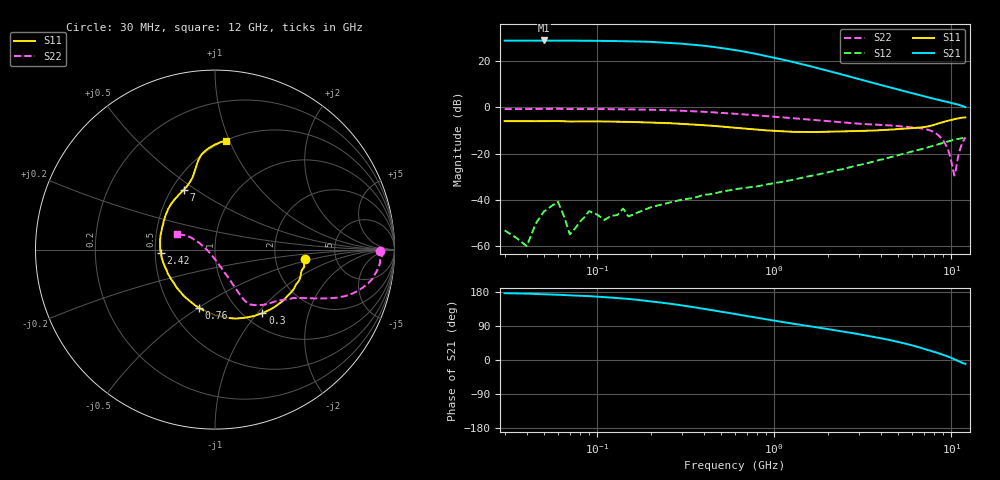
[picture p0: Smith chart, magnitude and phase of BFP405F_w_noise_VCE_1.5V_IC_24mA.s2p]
! Infineon Technologies  Discrete & RF Semiconductors
! BFP405F
! VCE =  1.5 V,  IC =  24 mA
! Common Emitter S-Parameters:  Nov 2015
# GHz  S  MA  R  50
!  f  S11  S21  S12  S22
! GHz  MAG  ANG  MAG  ANG  MAG  ANG  MAG  ANG
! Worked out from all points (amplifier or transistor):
!   239 points, 30 MHz to 12 GHz, reference 50 ohm
!   highest |S21| = 28.9 dB at 50 MHz (marker M1)
!   |S21| within 3 dB of that: start of sweep to 474.7 MHz
!   unconditionally stable (mu >= 1): 30.92 MHz to 42.28 MHz; 68.68 MHz to 76.37 MHz; 1.018 GHz to end of sweep
!   at 300 MHz: K = 0.48, MSG = 33.7 dB, |S12| = -39.9 dB
!   at 1.88 GHz: K = 1.34, MAG = 19.0 dB, |S12| = -28.5 dB
!   at 12 GHz: K = 1.52, MAG = 2.3 dB, |S12| = -13.0 dB
!   lowest NFmin = 2.43 dB at 450 MHz
!   S11 on the Smith chart (normalised r, x): 30 MHz: 2.99, -0.40; 300 MHz: 1.21, -1.06; 760 MHz: 0.69, -0.50; 2.42 GHz: 0.54, -0.02; 7 GHz: 0.58, +0.45; 12 GHz: 0.51, +0.97
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0.03  0.5058 -5.7  27.76 176.3  0.0022 95.4  0.9173 -0.5
0.04  0.5022 -8.0  27.85 175.2  0.001 62.7  0.9201 -1.2
0.05  0.5035 -9.8  28 173.5  0.0056 120.3  0.9258 -1.5
0.06  0.507 -10.8  27.81 172.3  0.0091 128.6  0.9339 -2.1
0.07  0.4971 -13.4  27.75 170.6  0.0018 22.6  0.9206 -2.9
0.085  0.4979 -16.4  27.62 169.0  0.0043 90.6  0.9218 -4.3
0.15  0.4872 -28.7  26.92 161.2  0.0044 80.6  0.9067 -8.0
0.2  0.4731 -37.4  26.11 154.7  0.0069 84.9  0.8903 -10.7
0.24  0.461 -43.8  25.13 150.4  0.0082 77.7  0.8745 -12.3
0.3  0.4421 -53.3  23.83 144.0  0.0101 74.8  0.8481 -14.6
0.44  0.4021 -72.5  20.59 131.9  0.0134 70.3  0.7875 -18.7
0.6  0.3635 -90.8  17.33 121.2  0.017 66.2  0.7284 -21.6
0.76  0.3358 -105.4  14.76 113.3  0.0192 64.9  0.682 -23.4
0.9  0.3187 -116.5  12.95 107.2  0.0215 65.7  0.6488 -24.8
1.1  0.304 -129.5  10.92 100.7  0.0245 65.6  0.6105 -26.4
1.64  0.294 -154.7  7.558 88.0  0.0335 66.9  0.5394 -29.9
2.42  0.303 -176.7  5.124 75.3  0.046 66.2  0.4728 -36.3
4.5  0.3295 148.6  2.709 52.6  0.0836 60.8  0.4079 -49.0
7  0.3757 117.6  1.746 29.6  0.1295 50.6  0.3441 -58.9
9  0.4839 102.1  1.374 13.5  0.1709 40.4  0.1903 -63.7
10.4  0.5557 95.2  1.209 2.1  0.2002 31.8  0.0338 -136.5
12  0.6076 84.2  1.016 -10.3  0.2228 22.5  0.2274 157.5
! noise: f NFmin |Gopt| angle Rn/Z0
0.45  2.43  0.04  -155  0.42
0.9  2.46  0.05  -147  0.25
1.5  2.53  0.09  -136  0.33
1.9  2.62  0.1  -132  0.4
2.4  2.79  0.12  -128  0.18
3  2.92  0.13  -125  0.16
3.5  3.04  0.14  -122  0.26
4.5  3.34  0.18  -108  0.56
5.5  3.72  0.34  -88  0.53
